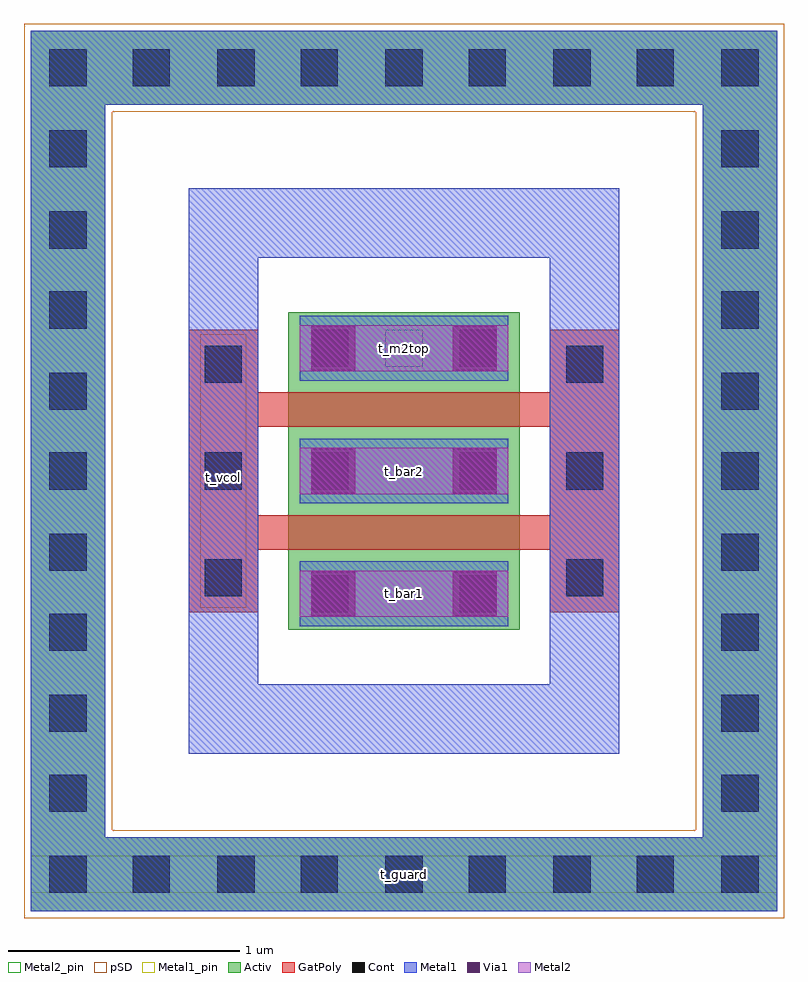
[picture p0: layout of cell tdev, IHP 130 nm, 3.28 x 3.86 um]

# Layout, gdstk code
import gdstk
lib = gdstk.Library(unit=1e-6, precision=1e-09)
def R(c, l, rs):  # rectangles x0, y0, x1, y1
    for r in rs: c.add(gdstk.rectangle(r[:2], r[2:], *l))
def A(c, l, x, y, w, h, nx, ny, dx, dy):  # array of equal rectangles
    R(c, l, [(x+i*dx, y+j*dy, x+i*dx+w, y+j*dy+h) for i in range(nx) for j in range(ny)])
def P(c, l, *ps):  # polygons
    for p in ps: c.add(gdstk.Polygon(p, *l))
Activ = (1, 0)
GatPoly = (5, 0)
Cont = (6, 0)
Metal1 = (8, 0)
Metal1_pin = (8, 2)
Metal2 = (10, 0)
Metal2_pin = (10, 2)
pSD = (14, 0)
Via1 = (19, 0)

rfnmos = lib.new_cell('rfnmos')
R(rfnmos, Activ, [(1.14,1.245,2.14,2.615)])
P(rfnmos, Activ, [(0.03,0.03),(0.03,3.51),(0.35,3.51),(0.35,0.35),(2.93,0.35),(2.93,3.51),(0.03,3.51),(0.03,3.83),(3.25,3.83),(3.25,0.03)])
R(rfnmos, GatPoly, [(0.71,1.32,1.01,2.54), (2.27,1.32,2.57,2.54), (1.01,1.59,2.27,1.74), (1.01,2.12,2.27,2.27)])
A(rfnmos, Cont, 1.24, 1.32, 0.16, 0.16, 1, 3, 0, 0.53)
A(rfnmos, Cont, 1.88, 1.32, 0.16, 0.16, 1, 3, 0, 0.53)
A(rfnmos, Cont, 0.78, 1.39, 0.16, 0.16, 1, 3, 0, 0.46)
A(rfnmos, Cont, 2.34, 1.39, 0.16, 0.16, 1, 3, 0, 0.46)
A(rfnmos, Cont, 0.11, 2.89, 0.16, 0.16, 1, 3, 0, 0.35)
A(rfnmos, Cont, 3.01, 2.89, 0.16, 0.16, 1, 3, 0, 0.35)
R(rfnmos, Cont, [(0.11,0.11,0.27,0.27), (0.47,0.11,0.63,0.27), (0.835,0.11,0.995,0.27), (1.195,0.11,1.355,0.27), (1.56,0.11,1.72,0.27), (1.92,0.11,2.08,0.27), (2.285,0.11,2.445,0.27), (2.645,0.11,2.805,0.27), (3.01,0.11,3.17,0.27), (0.11,0.46,0.27,0.62), (3.01,0.46,3.17,0.62), (0.11,0.805,0.27,0.965), (3.01,0.805,3.17,0.965), (0.11,1.155,0.27,1.315), (3.01,1.155,3.17,1.315), (0.11,1.5,0.27,1.66), (3.01,1.5,3.17,1.66), (0.11,1.85,0.27,2.01), (3.01,1.85,3.17,2.01), (0.11,2.195,0.27,2.355), (3.01,2.195,3.17,2.355), (0.11,2.545,0.27,2.705), (3.01,2.545,3.17,2.705), (0.47,3.59,0.63,3.75), (0.835,3.59,0.995,3.75), (1.195,3.59,1.355,3.75), (1.56,3.59,1.72,3.75), (1.92,3.59,2.08,3.75), (2.285,3.59,2.445,3.75), (2.645,3.59,2.805,3.75)])
A(rfnmos, Metal1, 1.19, 1.26, 0.9, 0.28, 1, 3, 0, 0.53)
R(rfnmos, Metal1, [(0.03,0.03,3.25,0.35), (0.03,0.35,0.35,3.51), (2.93,0.35,3.25,3.51), (0.76,1.34,0.96,2.52), (2.32,1.34,2.52,2.52), (0.03,3.51,3.25,3.83)])
P(rfnmos, Metal1, [(0.71,0.71),(0.71,2.85),(1.01,2.85),(1.01,1.01),(2.27,1.01),(2.27,2.85),(0.71,2.85),(0.71,3.15),(2.57,3.15),(2.57,0.71)])
R(rfnmos, Metal1_pin, [(0.03,0.11,3.25,0.27), (0.03,0.11,3.25,0.27), (1.19,1.26,2.09,1.54), (1.19,1.26,2.09,1.54), (0.76,1.34,0.96,2.52), (0.76,1.34,0.96,2.52), (1.19,1.79,2.09,2.07), (1.19,1.79,2.09,2.07)])
A(rfnmos, Metal2, 1.19, 1.3, 0.9, 0.2, 1, 3, 0, 0.53)
P(rfnmos, pSD, [(0,0),(0,3.48),(0.38,3.48),(0.38,0.38),(2.9,0.38),(2.9,3.48),(0,3.48),(0,3.86),(3.28,3.86),(3.28,0)])
A(rfnmos, Via1, 1.24, 1.305, 0.19, 0.19, 1, 3, 0, 0.53)
A(rfnmos, Via1, 1.85, 1.305, 0.19, 0.19, 1, 3, 0, 0.53)
rfnmos.add(gdstk.Label('S', (1.64,1.418), layer=63, texttype=0))
rfnmos.add(gdstk.Label('D', (1.64,1.947), layer=63, texttype=0))
rfnmos.add(gdstk.Label('G', (0.86,1.93), layer=63, texttype=0))
rfnmos.add(gdstk.Label('TIE', (1.64,0.19), layer=63, texttype=0))
rfnmos.add(gdstk.Label('rfnmos', (1.64,3.67), layer=63, texttype=0))

tdev = lib.new_cell('tdev')
R(tdev, Metal1_pin, [(1.56,0.11,1.72,0.27), (1.56,1.32,1.72,1.48), (0.78,1.82,0.94,1.98), (1.56,1.85,1.72,2.01)])
R(tdev, Metal2_pin, [(1.56,2.38,1.72,2.54)])
tdev.add(gdstk.Reference(rfnmos, (0,0)))
tdev.add(gdstk.Label('t_vcol', (0.86,1.9), layer=8, texttype=25))
tdev.add(gdstk.Label('t_bar1', (1.64,1.4), layer=8, texttype=25))
tdev.add(gdstk.Label('t_bar2', (1.64,1.93), layer=8, texttype=25))
tdev.add(gdstk.Label('t_guard', (1.64,0.19), layer=8, texttype=25))
tdev.add(gdstk.Label('t_m2top', (1.64,2.46), layer=10, texttype=25))

lib.write_gds('tdev.gds')
